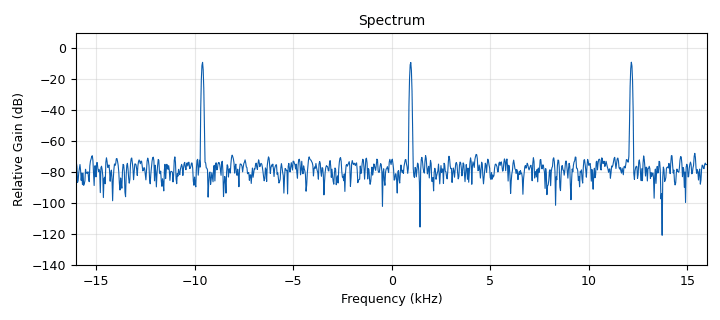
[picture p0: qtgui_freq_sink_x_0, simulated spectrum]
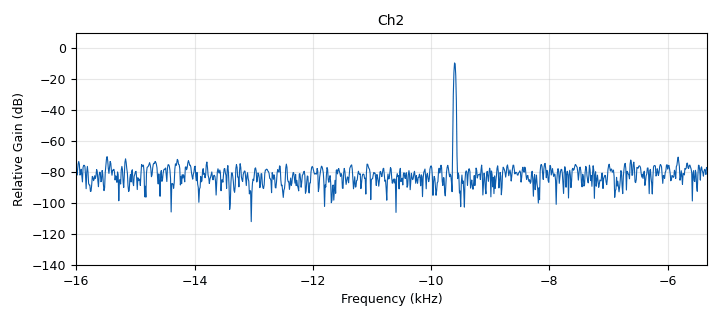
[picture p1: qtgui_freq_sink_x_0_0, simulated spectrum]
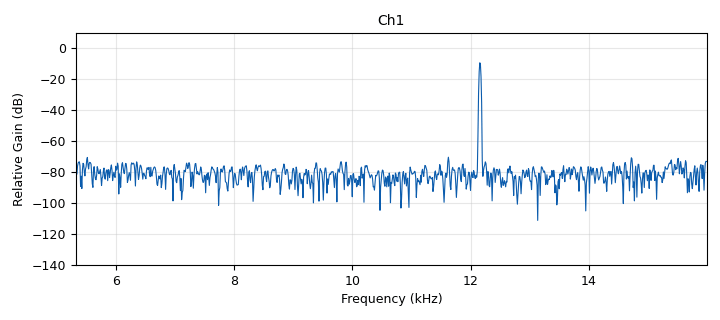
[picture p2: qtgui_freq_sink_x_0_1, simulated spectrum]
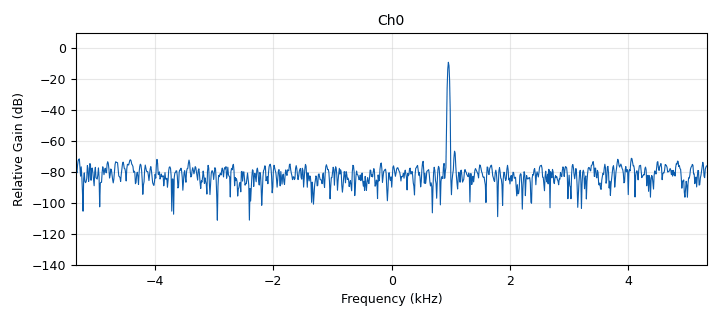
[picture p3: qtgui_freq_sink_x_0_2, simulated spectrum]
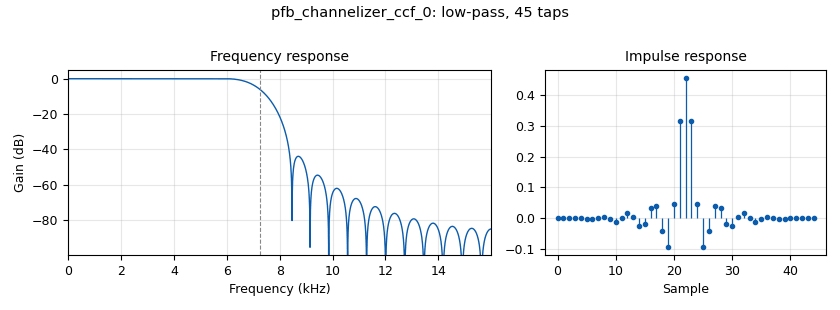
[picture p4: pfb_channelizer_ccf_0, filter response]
options:
  parameters:
    category: Custom
    generate_options: qt_gui
    id: top_block
    output_language: python
  states: {}

blocks:
- name: samp_rate
  id: variable
  parameters:
    value: '32000'
  states: {}
- name: analog_noise_source_x_0
  id: analog_noise_source_x
  parameters:
    amp: '.01'
    noise_type: analog.GR_GAUSSIAN
    seed: '0'
    type: complex
  states: {}
- name: analog_sig_source_x_0
  id: analog_sig_source_x
  parameters:
    amp: '1'
    freq: 0.03 * samp_rate
    offset: '0'
    phase: '0'
    samp_rate: samp_rate
    type: complex
    waveform: analog.GR_COS_WAVE
  states: {}
- name: analog_sig_source_x_1
  id: analog_sig_source_x
  parameters:
    amp: '1'
    freq: 0.38 * samp_rate
    offset: '0'
    phase: '0'
    samp_rate: samp_rate
    type: complex
    waveform: analog.GR_COS_WAVE
  states: {}
- name: analog_sig_source_x_2
  id: analog_sig_source_x
  parameters:
    amp: '1'
    freq: 0.70*samp_rate
    offset: '0'
    phase: '0'
    samp_rate: samp_rate
    type: complex
    waveform: analog.GR_COS_WAVE
  states: {}
- name: blocks_add_xx_0
  id: blocks_add_xx
  parameters:
    num_inputs: '4'
    type: complex
  states: {}
- name: blocks_throttle2_0
  id: blocks_throttle2
  parameters:
    samples_per_second: samp_rate
    type: complex
  states: {}
- name: blocks_throttle_0
  id: blocks_throttle
  parameters:
    samples_per_second: samp_rate
    type: complex
  states: {state: disabled}
- name: import_0_0
  id: import
  parameters:
    imports: from gnuradio import filter
  states: {}
- name: pfb_channelizer_ccf_0
  id: pfb_channelizer_ccf
  parameters:
    atten: '100'
    ch_map: '[]'
    nchans: '3'
    osr: '1.0'
    taps: filter.firdes.low_pass(1.0, samp_rate, 7250, 1450, window.WIN_HANN)
  states: {}
- name: pfb_channelizer_hier_ccf_0
  id: pfb_channelizer_hier_ccf
  parameters:
    atten: '100'
    bw: '0.6'
    n_filterbanks: '4'
    outchans: None
    ripple: '0.1'
    taps: None
    tb: '0.2'
  states: {state: disabled}
- name: qtgui_freq_sink_x_0
  id: qtgui_freq_sink_x
  parameters:
    bw: samp_rate
    fc: '0'
    fftsize: '1024'
    gui_hint: 0,0,1,3
    name: '"Spectrum"'
    showports: 'True'
    type: complex
  states: {}
- name: qtgui_freq_sink_x_0_0
  id: qtgui_freq_sink_x
  parameters:
    bw: samp_rate/3.0
    fc: '-samp_rate/3.0'
    fftsize: '1024'
    gui_hint: 1,2,1,1
    legend: 'False'
    name: '"Ch2"'
    showports: 'True'
    type: complex
  states: {}
- name: qtgui_freq_sink_x_0_1
  id: qtgui_freq_sink_x
  parameters:
    bw: samp_rate/3.0
    fc: samp_rate/3.0
    fftsize: '1024'
    gui_hint: 1,1,1,1
    legend: 'False'
    name: '"Ch1"'
    showports: 'True'
    type: complex
  states: {}
- name: qtgui_freq_sink_x_0_2
  id: qtgui_freq_sink_x
  parameters:
    bw: samp_rate/3.0
    fc: '0'
    fftsize: '1024'
    gui_hint: 1,0,1,1
    legend: 'False'
    name: '"Ch0"'
    showports: 'True'
    type: complex
  states: {}

connections:
- [analog_noise_source_x_0, '0', blocks_throttle2_0, '0']
- [analog_noise_source_x_0, '0', blocks_throttle_0, '0']
- [analog_sig_source_x_0, '0', blocks_add_xx_0, '0']
- [analog_sig_source_x_1, '0', blocks_add_xx_0, '1']
- [analog_sig_source_x_2, '0', blocks_add_xx_0, '2']
- [blocks_add_xx_0, '0', pfb_channelizer_ccf_0, '0']
- [blocks_add_xx_0, '0', pfb_channelizer_hier_ccf_0, '0']
- [blocks_add_xx_0, '0', qtgui_freq_sink_x_0, '0']
- [blocks_throttle2_0, '0', blocks_add_xx_0, '3']
- [blocks_throttle_0, '0', blocks_add_xx_0, '3']
- [pfb_channelizer_ccf_0, '0', qtgui_freq_sink_x_0_2, '0']
- [pfb_channelizer_ccf_0, '1', qtgui_freq_sink_x_0_1, '0']
- [pfb_channelizer_ccf_0, '2', qtgui_freq_sink_x_0_0, '0']
- [pfb_channelizer_hier_ccf_0, '0', qtgui_freq_sink_x_0_2, '0']
- [pfb_channelizer_hier_ccf_0, '1', qtgui_freq_sink_x_0_1, '0']
- [pfb_channelizer_hier_ccf_0, '2', qtgui_freq_sink_x_0_0, '0']

metadata:
  file_format: 1
  grc_version: 3.10.7.0
